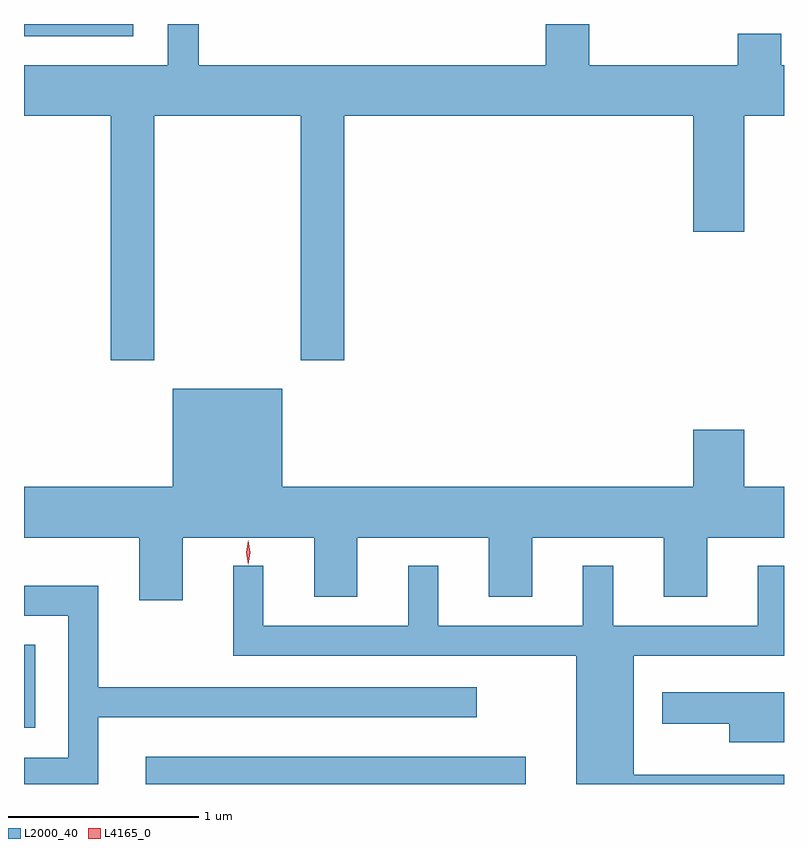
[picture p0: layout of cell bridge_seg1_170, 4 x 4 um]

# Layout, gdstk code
import gdstk
lib = gdstk.Library(unit=1e-6, precision=1e-09)
def R(c, l, rs):  # rectangles x0, y0, x1, y1
    for r in rs: c.add(gdstk.rectangle(r[:2], r[2:], *l))
def P(c, l, *ps):  # polygons
    for p in ps: c.add(gdstk.Polygon(p, *l))
L2000_40 = (2000, 40)
L4165_0 = (4165, 0)

bridge_seg1_170 = lib.new_cell('bridge_seg1_170')
R(bridge_seg1_170, L2000_40, [(731.676,947.12,733.674,947.264), (731.034,947.416,731.094,947.854), (731.034,951.056,731.609,951.12)])
P(bridge_seg1_170, L2000_40, [(731.719,950.636),(732.491,950.636),(732.491,949.351),(732.719,949.351),(732.719,950.636),(734.556,950.636),(734.556,950.026),(734.824,950.026),(734.824,950.636),(735.034,950.636),(735.034,950.904),(735.019,950.904),(735.019,951.069),(734.791,951.069),(734.791,950.904),(734.009,950.904),(734.009,951.12),(733.781,951.12),(733.781,950.904),(731.954,950.904),(731.954,951.12),(731.791,951.12),(731.791,950.904),(731.034,950.904),(731.034,950.636),(731.491,950.636),(731.491,949.351),(731.719,949.351)],
  [(731.869,948.416),(732.561,948.416),(732.561,948.106),(732.789,948.106),(732.789,948.416),(733.481,948.416),(733.481,948.106),(733.709,948.106),(733.709,948.416),(734.401,948.416),(734.401,948.106),(734.629,948.106),(734.629,948.416),(735.034,948.416),(735.034,948.684),(734.824,948.684),(734.824,948.984),(734.556,948.984),(734.556,948.684),(732.394,948.684),(732.394,949.199),(731.816,949.199),(731.816,948.684),(731.034,948.684),(731.034,948.416),(731.641,948.416),(731.641,948.086),(731.869,948.086)],
  [(735.034,947.169),(734.244,947.169),(734.244,947.796),(735.034,947.796),(735.034,948.268),(734.896,948.268),(734.896,947.954),(734.134,947.954),(734.134,948.268),(733.976,948.268),(733.976,947.954),(733.214,947.954),(733.214,948.268),(733.056,948.268),(733.056,947.954),(732.294,947.954),(732.294,948.268),(732.136,948.268),(732.136,947.796),(733.941,947.796),(733.941,947.12),(735.034,947.12)],
  [(731.424,947.471),(733.418,947.471),(733.418,947.629),(731.424,947.629),(731.424,948.164),(731.034,948.164),(731.034,948.006),(731.266,948.006),(731.266,947.259),(731.034,947.259),(731.034,947.12),(731.424,947.12)],
  [(735.034,947.604),(734.393,947.604),(734.393,947.436),(734.746,947.436),(734.746,947.341),(735.034,947.341)])
P(bridge_seg1_170, L4165_0, [(732.214,948.273),(732.204,948.338),(732.214,948.402),(732.214,948.402),(732.214,948.402),(732.224,948.338),(732.215,948.273),(732.215,948.273)])

lib.write_gds('bridge_seg1_170.gds')
